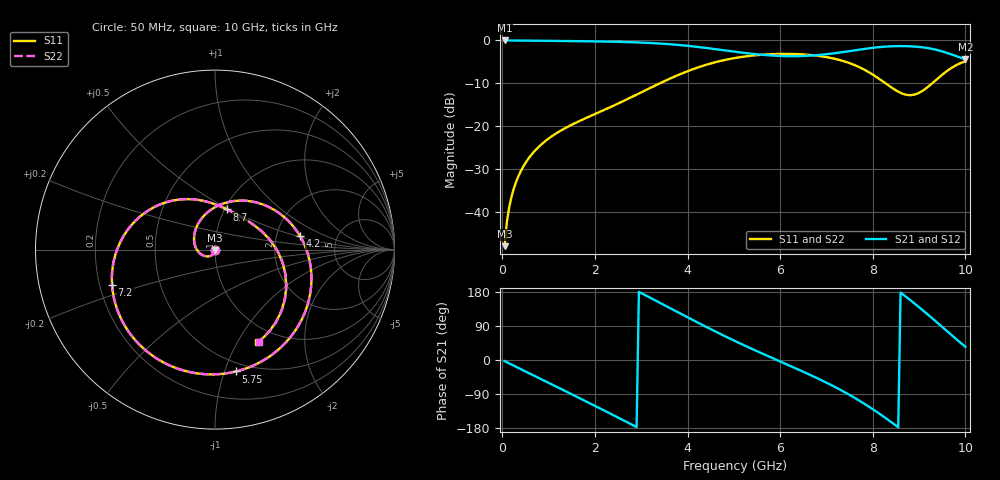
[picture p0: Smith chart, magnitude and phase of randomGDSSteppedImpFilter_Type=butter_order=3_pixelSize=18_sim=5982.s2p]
! freq	dB(S11)	phase(S11)	dB(S12)	phase(S12)
!  dB(S21)	phase(S21)	dB(S22)	phase(S22)
!S-par simulation data
#  GHz  S  DB  R 50
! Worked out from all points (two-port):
!   200 points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, 50 MHz to 10 GHz, reference 50 ohm
!   highest |S21| = -0.01 dB at 50 MHz (marker M1); lowest = -4.4 dB at 10 GHz (marker M2)
!   |S21| within 3 dB of the highest: start of sweep to 5.295 GHz; 7.164 GHz to 9.629 GHz (2.465 GHz wide, 29.4 % of centre)
!   lowest |S11| = -48.1 dB at 50 MHz (marker M3), VSWR 1.01, Z = 50 - j0.396 ohm
!   |S11| at or under -10 dB: start of sweep to 3.404 GHz; 8.274 GHz to 9.285 GHz (1.011 GHz wide, 11.5 % of centre)
!   |S22| runs from -48.1 to -3.1 dB; largest |S21 - S12| = 0
!   S11 on the Smith chart (normalised r, x): 50 MHz: 1.00, -0.01; 4.2 GHz: 2.71, +0.54; 5.75 GHz: 0.42, -1.10; 7.2 GHz: 0.25, -0.16; 8.7 GHz: 1.03, +0.49; 10 GHz: 0.80, -1.22
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0.05  -48.05 -88.7  -0.01 -3.1  -0.01 -3.1  -48.05 -88.7
0.1  -42.33 -93.2  -0.01 -6.1  -0.01 -6.1  -42.33 -93.1
0.2  -36.45 -100.9  -0.02 -12.1  -0.02 -12.1  -36.45 -100.8
0.5  -28.62 -120.7  -0.05 -30.1  -0.05 -30.1  -28.62 -120.6
1.15  -21.80 -160.7  -0.11 -69.3  -0.11 -69.3  -21.80 -160.5
1.75  -18.40 162.6  -0.18 -105.6  -0.18 -105.6  -18.41 162.9
2.65  -13.98 107.1  -0.37 -161.2  -0.37 -161.2  -13.98 107.4
3  -12.13 85.1  -0.50 176.7  -0.50 176.7  -12.13 85.4
3.4  -10.02 59.8  -0.72 151.1  -0.72 151.1  -10.02 60.0
3.8  -8.06 34.4  -1.05 125.5  -1.05 125.5  -8.06 34.6
4.2  -6.40 9.3  -1.49 100.1  -1.49 100.1  -6.40 9.4
5.05  -4.05 -41.6  -2.68 48.6  -2.68 48.6  -4.05 -41.6
5.75  -3.24 -80.2  -3.48 9.5  -3.48 9.5  -3.24 -80.2
6.7  -3.45 -131.4  -3.52 -42.3  -3.52 -42.3  -3.45 -131.5
7.2  -4.34 -160.9  -2.95 -72.2  -2.95 -72.2  -4.34 -161.1
7.8  -6.73 157.4  -2.00 -114.1  -2.00 -114.1  -6.73 157.2
8.35  -10.59 110.0  -1.39 -159.5  -1.39 -159.5  -10.58 109.9
8.7  -12.63 73.5  -1.33 168.5  -1.33 168.5  -12.62 73.7
9.05  -11.94 33.8  -1.58 134.3  -1.58 134.3  -11.94 34.4
9.35  -9.39 1.0  -2.14 103.1  -2.14 103.1  -9.40 1.6
9.7  -6.42 -35.7  -3.27 65.8  -3.27 65.8  -6.42 -35.1
10  -4.91 -65.2  -4.38 34.8  -4.38 34.8  -4.91 -64.6
